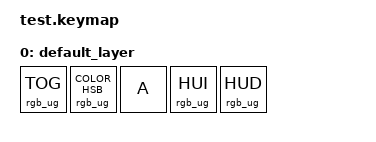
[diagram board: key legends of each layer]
// This file was generated from a template. Edit it to match your keyboard.
// See https://zmk.dev/docs/development/hardware-integration/new-shield for more instructions.

#include <behaviors.dtsi>
#include <dt-bindings/zmk/keys.h>
#include <dt-bindings/zmk/rgb.h>

/ {
    // Define a default keymap here.
    // See https://zmk.dev/docs/development/hardware-integration/new-shield#default-keymap.
    keymap {
        compatible = "zmk,keymap";

        default_layer {
            bindings = <
                &rgb_ug RGB_TOG  &rgb_ug RGB_COLOR_HSB(0, 100, 50)  &kp A  &rgb_ug RGB_HUI  &rgb_ug RGB_HUD
            >;
        };
    };
};
